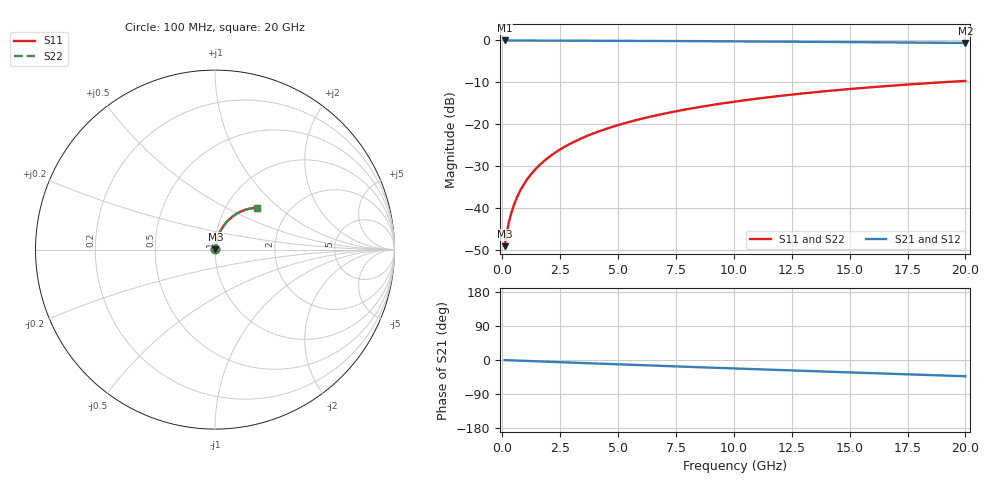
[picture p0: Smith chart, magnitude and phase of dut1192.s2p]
! Touchstone file exported from HFSS 2026.1.0
!  File:  C:/ffzhzh/LocalFiles/Ansys_Project_Files/temp_train_TMRDL_1192_1783162822_22436.aedt
!  Generated:  07:01:39 PM Jul  4, 2026
!  Design:  TMRDL
!  Project:  temp_train_TMRDL_1192_1783162822_22436
! Variables:
!  h_bsmrdl = 2um
!  h_ox = 20um
!  h_rdl = 5um
!  h_sub = 80um
!  h_tmrdl = 4.53um
!  h_tsv = 80um
!  h_via = 3um
!  l_bsmrdl = 300um
!  l_sub = 1072.76um
!  l_tmrdl = 672.76um
!  m_sub = 200um
!  pitch = 40um
!  r_tsv = 6um
!  s_tmrdl = 10um
!  w_bsmrdl = 18um
!  w_sub = 500um
!  w_tmrdl = 20.54um
!  x_tsv_center1 = 683.03um
!  x_tsv_center2 = 1001.03um
!  x_tsv_center3 = 1694.33um
!  x_tsv_center4 = 2012.33um
!  x_tsv_center5 = 2705.63um
!  x_tsv_center6 = 3023.63um
# GHz S MA R 50.000000
! Terminal data exported
! Port[1] = TM_RDL1_1_T1
! Port[2] = TM_RDL1_1_T2
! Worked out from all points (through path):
!   200 points, 100 MHz to 20 GHz, reference 50 ohm
!   highest |S21| = -0.02 dB at 100 MHz (marker M1); lowest = -0.6 dB at 20 GHz (marker M2)
!   group delay of S21, straight-line fit = 5.94 ps
!   lowest |S11| = -49.0 dB at 100 MHz (marker M3), VSWR 1.01, Z = 50.3 + j0.228 ohm
!   |S11| at or under -10 dB: start of sweep to 18.92 GHz
!   |S22| runs from -49.0 to -9.6 dB; largest |S21 - S12| = 2.4e-15
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0.1  0.003558 39.5  0.9973 -0.2  0.9973 -0.2  0.003558 39.5
! Gamma 0 0 0 0
! Port Impedance 50 0 50 0
0.2  0.005293 56.1  0.9971 -0.5  0.9971 -0.5  0.005293 56.1
0.3  0.007153 63.8  0.9969 -0.7  0.9969 -0.7  0.007153 63.8
0.4  0.009041 68.4  0.9968 -0.9  0.9968 -0.9  0.009041 68.4
0.5  0.01095 71.5  0.9967 -1.2  0.9967 -1.2  0.01095 71.5
0.6  0.01288 73.6  0.9966 -1.4  0.9966 -1.4  0.01288 73.6
0.8  0.01679 76.3  0.9964 -1.9  0.9964 -1.9  0.01679 76.3
1.1  0.02272 78.4  0.9962 -2.5  0.9962 -2.5  0.02272 78.4
1.3  0.02669 79.1  0.996 -3.0  0.996 -3.0  0.02669 79.1
1.6  0.03265 79.5  0.9956 -3.7  0.9956 -3.7  0.03265 79.5
2.1  0.04254 79.6  0.9949 -4.8  0.9949 -4.8  0.04254 79.5
2.7  0.05432 78.9  0.9939 -6.2  0.9939 -6.2  0.05432 78.9
3.5  0.06981 77.7  0.9923 -8.0  0.9923 -8.0  0.06981 77.7
4.2  0.08314 76.4  0.9908 -9.6  0.9908 -9.6  0.08314 76.4
5  0.09812 74.9  0.9887 -11.4  0.9887 -11.4  0.09812 74.9
5.9  0.1147 73.1  0.9863 -13.4  0.9863 -13.4  0.1147 73.1
6.8  0.1309 71.3  0.9837 -15.3  0.9837 -15.3  0.1309 71.3
8.3  0.1572 68.2  0.9789 -18.6  0.9789 -18.6  0.1572 68.2
10.1  0.1877 64.6  0.9727 -22.5  0.9727 -22.5  0.1877 64.6
13.4  0.24 58.0  0.96 -29.5  0.96 -29.5  0.24 58.0
16.7  0.2874 51.5  0.9462 -36.2  0.9462 -36.2  0.2874 51.4
20  0.3293 45.1  0.932 -42.8  0.932 -42.8  0.3293 45.1
